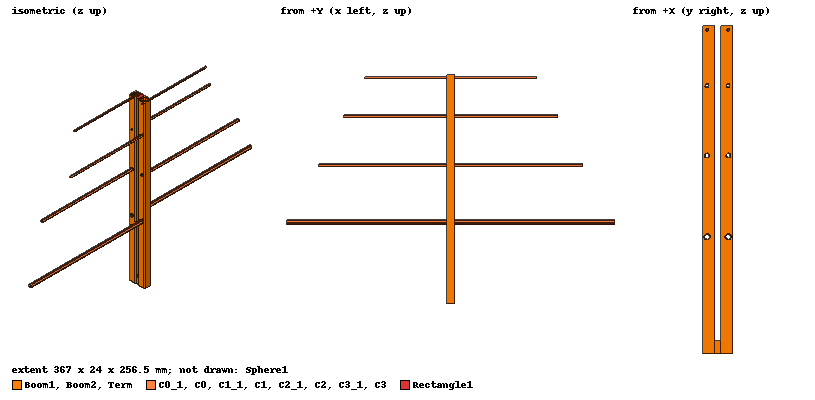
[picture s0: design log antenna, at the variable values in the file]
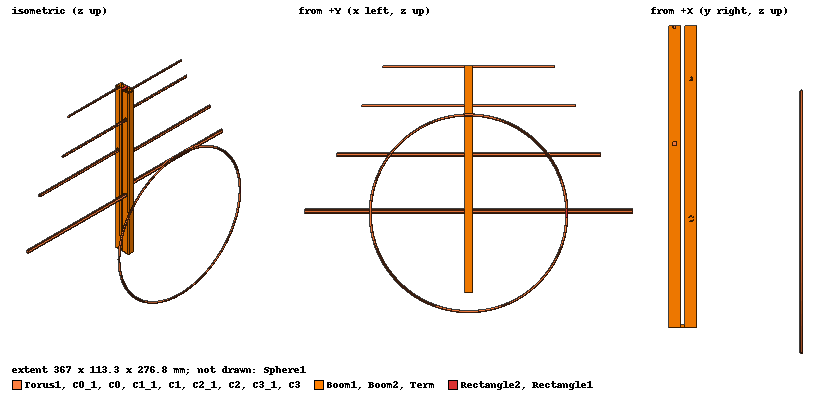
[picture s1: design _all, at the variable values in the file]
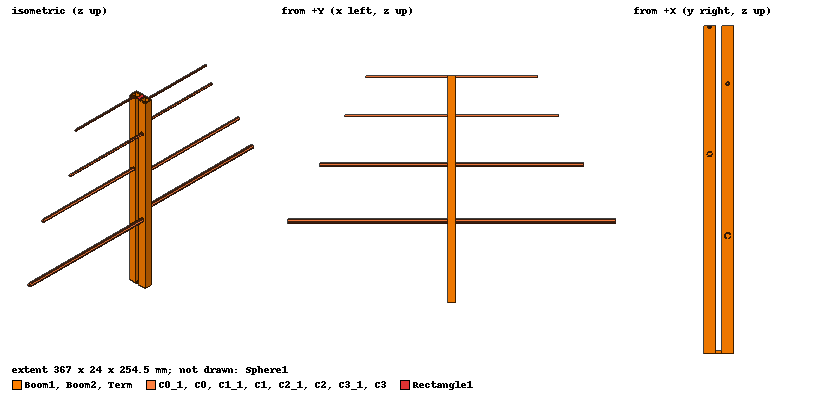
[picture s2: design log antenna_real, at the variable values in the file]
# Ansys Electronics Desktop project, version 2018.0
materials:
  brass: conductivity=15000000
  copper: permeability=0.999991 conductivity=58000000
  vacuum: permittivity=1

design log antenna (HFSS, DrivenModal, model units mm)
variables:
  Frequence = 434MHz
  LzTerm = 0.089*1000mm
  Cyl_vol = 0.5mm
  Boom_Vol = 2mm
  Boom_W = 10mm
  Boom_L = 10mm
  spacer = 4mm
  Sigma = 0.095
  T = 0.8
  R3 = 1.25mm
  L0 = 357mm
  L1 = T*L0
  L3 = T*L2
  L2 = T*L1
  Lambda0 = 2*L0
  Lambda1 = 2*L1
  Lambda2 = 2*L2
  Lambda3 = 2*L3
  D0 = Sigma*Lambda0
  D1 = Sigma*Lambda1+D0
  D2 = Sigma*Lambda2+D1
  D3 = D2+LzTerm
  Boom_H = D3+2mm
  R0 = R1/T
  R1 = R2/T
  R2 = R3/T
  c = 299792458
  wawlength = c/Frequence
  Frequ = 434MHz
  Lambda = c/Frequ
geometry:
  Boom1 [brass] = box(corner=(-Boom_W/2, spacer/2, -LZterm), size=(Boom_W, Boom_L, Boom_H))
  Boom2 [brass] = box(corner=(-Boom_W/2, -(spacer/2+Boom_L), -LzTerm), size=(Boom_W, Boom_L, Boom_H))
  C0 [brass] = cylinder(axis=X, base_centre=(-Boom_W/2, spacer/2+Boom_L/2+Boom_L/8, R0), radius=R0, height=L0/2+Boom_W)
  C1 [brass] = cylinder(axis=X, base_centre=(-Boom_W/2, -(spacer/2+Boom_L/2+Boom_L/8), D0-R1), radius=R1, height=L1/2+Boom_W)
  C2 [brass] = cylinder(axis=X, base_centre=(-Boom_W/2, spacer/2+Boom_L/2+Boom_L/8, D1-R2), radius=R2, height=L2/2+Boom_W)
  C3 [brass] = cylinder(axis=X, base_centre=(-Boom_W/2, -(spacer/2+Boom_L/2+Boom_L/8), D2-R3), radius=R3, height=L3/2+Boom_W)
  Boom1_1 = box(corner=(-Boom_W/2+Boom_Vol/2, spacer/2+Boom_Vol/2, -LzTerm), size=(Boom_W-Boom_Vol, Boom_L-2mm, Boom_H))
  Boom2_1 = box(corner=(-Boom_W/2+Boom_Vol/2, -(spacer/2+Boom_L-Boom_Vol/2), -LzTerm), size=(Boom_W-Boom_Vol, Boom_L-Boom_Vol, Boom_H))
  C01 = cylinder(axis=X, base_centre=(-Boom_W/2, spacer/2+Boom_L/2+Boom_L/8, R0), radius=R0-Cyl_vol, height=L0/2+Boom_W)
  C11 = cylinder(axis=X, base_centre=(-Boom_W/2, -(spacer/2+Boom_L/2+Boom_L/8), D0-R1), radius=R1-Cyl_vol, height=L1/2+Boom_W)
  C21 = cylinder(axis=X, base_centre=(-Boom_W/2, spacer/2+Boom_L/2+Boom_L/8, D1-R2), radius=R2-Cyl_vol, height=L2/2+Boom_W)
  C31 = cylinder(axis=X, base_centre=(-Boom_W/2, -(spacer/2+Boom_L/2+Boom_L/8), D2-R3), radius=R3-Cyl_vol, height=L3/2+Boom_W)
  Term [brass] = box(corner=(-4mm, -spacer/2, -LzTerm), size=(8mm, spacer, 10mm))
  Boom2.subtract(Boom2_1)
  Boom1.subtract(Boom1_1)
  C3_1 [brass] = C3.duplicate_around_axis(axis=Z, angle=180deg, total=2)
  C2_1 [brass] = C2.duplicate_around_axis(axis=Z, angle=180deg, total=2)
  C1_1 [brass] = C1.duplicate_around_axis(axis=Z, angle=180deg, total=2)
  C0_1 [brass] = C0.duplicate_around_axis(axis=Z, angle=180deg, total=2)
  Rectangle1 = rectangle(corner=(-Boom_W/2, spacer/2, D2+2mm), x_size=Boom_L, y_size=-spacer)
  C0_2 = C0.copy()
  Boom1.subtract(C0_2)
  C1_2 = C1.copy()
  Boom2.subtract(C1_2)
  C2_2 = C2.copy()
  Boom1.subtract(C2_2)
  C3_2 = C3.copy()
  Boom2.subtract(C3_2)
  C11_1 = C11.duplicate_around_axis(axis=Z, angle=180deg, total=2)
  C21_1 = C21.duplicate_around_axis(axis=Z, angle=180deg, total=2)
  C31_1 = C31.duplicate_around_axis(axis=Z, angle=180deg, total=2)
  C01_1 = C01.duplicate_around_axis(axis=Z, angle=180deg, total=2)
  C2.subtract(C21)
  C0.subtract(C01)
  C1.subtract(C11)
  C3.subtract(C31)
  C0_3 = C0.copy()
  C1_1_1 = C1_1.copy()
  C3_1_1 = C3_1.copy()
  Boom1.subtract(C0_3, C1_1_1, C3_1_1)
  C3_1.subtract(C31_1)
  C1_1.subtract(C11_1)
  C0_1_1 = C0_1.copy()
  C2_1_1 = C2_1.copy()
  Boom2.subtract(C0_1_1, C2_1_1)
  C0_1.subtract(C01_1)
  C2_1.subtract(C21_1)
  Sphere1 [vacuum] = sphere(centre=(0mm, 0mm, 0mm), radius=sqrt((2*lambda)/pi))
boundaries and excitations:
  Rad1: Radiation Objects=Sphere1
  1: Lumped Port Objects=Rectangle1 Modes{Mode1{IntLine{middle of Rectangle1.edge(y opposite corner) -> middle of Rectangle1.edge(y at corner)} CharImp=Zpi RenormImp=100ohm}} Impedance=50ohm
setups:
  Setup1: HfssDriven Frequency=434MHz MaxDeltaS=0.02 MaximumPasses=20 MinimumPasses=3 MinimumConvergedPasses=1 PercentRefinement=30 BasisOrder=1 PortAccuracy=2
    sweep Sweep: 300MHz to 800MHz step 0.02GHz; Type=Interpolating InterpTolerance=0.5 InterpMaxSolns=250 InterpUsePortImped=false PassivityErrorTolerance=0.0001
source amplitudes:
  1:1: 1W 0deg
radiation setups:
  Infinite Sphere1: Infinite Sphere Theta=0deg..180deg step 2deg Phi=-180deg..180deg step 2deg
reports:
  Z Parameter Plot 1: re(Z(1,1)), im(Z(1,1)) vs Freq on Setup1 : Sweep; markers m1 at 434MHz, m2 at 434MHz
  S Parameter Plot 1: dB(S(1,1)) vs Freq on Setup1 : Sweep; markers m1 at 420MHz, m3 at 432.0984MHz, m4 at 460MHz
  rE Plot 1: rETotal vs Phi, Theta on Setup1 : LastAdaptive, Infinite Sphere1 [Freq=0.434GHz]
  S Parameter Chart 2: S(1,1) on Setup1 : Sweep [Freq=all]; markers m1 at 0.434GHz

design circular loop antenna (HFSS, DrivenModal, model units mm)
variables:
  majRad = Lambda/(2*pi)*tuning
  minRad = sqrt(Sect/pi)
  rad = 2*minRad
  H = 10mm
  Frequ = 434MHz
  Lambda = c/Frequ
  c = 300000000m_per_sec
  Frequence = 434MHz
  wawlength = c/Frequence
  tuning = (456/434)
  BW = 1mm
  Sect = 1mm2
  Diameter = 2*majRad m
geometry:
  Torus1 [copper] = torus(axis=Z, centre=(0mm, 0mm, 0mm), major_radius=majRad, minor_radius=minRad)
  Cylinder1 = cylinder(axis=Y, base_centre=(-majRad, -H/2, 0mm), radius=rad, height=H)
  Torus1.subtract(Cylinder1)
  Rectangle1 = rectangle(corner=(-majRad, -H/2, 0mm), x_size=Rad*0.8, y_size=H)
  Sphere1 [vacuum] = sphere(centre=(0mm, 0mm, 0mm), radius=sqrt((2*lambda)/pi))
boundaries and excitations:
  Rad2: Radiation Objects=Sphere1
  1: Lumped Port Objects=Rectangle1 Modes{Mode1{IntLine{Rectangle1.edge(y opposite corner) at 0.499 along -> middle of Rectangle1.edge(y at corner)} CharImp=Zpi RenormImp=100ohm}} Impedance=50ohm
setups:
  Setup1: HfssDriven Frequency=434MHz MaxDeltaS=0.02 MaximumPasses=20 MinimumPasses=3 MinimumConvergedPasses=1 PercentRefinement=30 BasisOrder=1 PortAccuracy=2
    sweep Sweep: 300MHz to 800MHz step 10MHz; Type=Interpolating InterpTolerance=0.5 InterpMaxSolns=250 InterpUsePortImped=false PassivityErrorTolerance=0.0001
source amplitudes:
  1:1: 1W 0deg
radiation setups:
  Infinite Sphere1: Infinite Sphere Theta=0deg..180deg step 2deg Phi=-180deg..180deg step 2deg
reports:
  Z Parameter Plot 1: re(Z(1,1)), im(Z(1,1)) vs Freq on Setup1 : Sweep; markers m1 at 0.434GHz, m2 at 0.434GHz, m3 at 0.45598272GHz
  S Parameter Plot 1: dB(S(1,1)) vs Freq on Setup1 : Sweep; markers m1 at 0.43462329GHz, m2 at 450MHz
  rE Plot 1: rETotal vs Phi, Theta on Setup1 : LastAdaptive, Infinite Sphere1 [Freq=0.434GHz]
  S Parameter Chart 1: S(1,1) on Setup1 : Sweep [Freq=all Sect=all]

design _all (HFSS, DrivenModal, model units mm)
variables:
  rad = 2*minRad
  H = 10mm
  Frequ = 434MHz
  c = 300000000m_per_sec
  Lambda = c/Frequ
  minRad = 1.25mm
  majRad = Lambda/(2*pi)
  T = 0.8
  L1 = T*L0
  D2 = Sigma*Lambda2+D1
  LzTerm = 0.089*1000mm
  Boom_Vol = 2mm
  Boom_W = 10mm
  spacer = 4mm
  L0 = 357mm
  Sigma = 0.095
  L2 = T*L1
  Lambda0 = 2*L0
  Boom_L = 10mm
  Lambda1 = 2*L1
  Lambda2 = 2*L2
  D3 = D2+LzTerm
  Boom_H = D3
  D0 = Sigma*Lambda0
  D1 = Sigma*Lambda1+D0
  Cyl_vol = 0.5mm
  R3 = 1.25mm
  R0 = R1/T
  R1 = R2/T
  R2 = R3/T
  L3 = T*L2
  hand = 100mm
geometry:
  Torus1 [copper] = torus(axis=Z, centre=(0, 0mm, hand), major_radius=majRad, minor_radius=minRad)
  Cylinder1 = cylinder(axis=Y, base_centre=(-majRad, -H/2, hand), radius=rad, height=H)
  Torus1.subtract(Cylinder1)
  Rectangle1 = rectangle(corner=(-majRad-rad/2, -H/2, hand), x_size=rad, y_size=H)
  Boom1 [brass] = box(corner=(-Boom_W/2, spacer/2, -LZterm), size=(Boom_W, Boom_L, Boom_H))
  Boom1_1 = box(corner=(-Boom_W/2+Boom_Vol/2, spacer/2+Boom_Vol/2, -LzTerm), size=(Boom_W-Boom_Vol, Boom_L-2mm, Boom_H))
  Boom1.subtract(Boom1_1)
  Boom2 [brass] = box(corner=(-Boom_W/2, -(spacer/2+Boom_L), -LzTerm), size=(Boom_W, Boom_L, Boom_H))
  Boom2_1 = box(corner=(-Boom_W/2+Boom_Vol/2, -(spacer/2+Boom_L-Boom_Vol/2), -LzTerm), size=(Boom_W-Boom_Vol, Boom_L-Boom_Vol, Boom_H))
  Boom2.subtract(Boom2_1)
  C0 [brass] = cylinder(axis=X, base_centre=(Boom_W/2, spacer/2+Boom_L/2, R0), radius=R0, height=L0/2)
  C01 = cylinder(axis=X, base_centre=(Boom_W/2, spacer/2+Boom_L/2, R0), radius=R0-Cyl_vol, height=L0/2)
  C0.subtract(C01)
  C0_1 [brass] = C0.duplicate_around_axis(axis=Z, angle=180deg, total=2)
  C1 [brass] = cylinder(axis=X, base_centre=(Boom_W/2, -(spacer/2+Boom_L/2), D0-R1), radius=R1, height=L1/2)
  C11 = cylinder(axis=X, base_centre=(Boom_W/2, spacer/2+Boom_L/2, D0-R1), radius=R1-Cyl_vol, height=L1/2)
  C1.subtract(C11)
  C1_1 [brass] = C1.duplicate_around_axis(axis=Z, angle=180deg, total=2)
  C2 [brass] = cylinder(axis=X, base_centre=(Boom_W/2, spacer/2+Boom_L/2, D1-R2), radius=R2, height=L2/2)
  C21 = cylinder(axis=X, base_centre=(Boom_W/2, spacer/2+Boom_L/2, D1-R2), radius=R2-Cyl_vol, height=L2/2)
  C2.subtract(C21)
  C2_1 [brass] = C2.duplicate_around_axis(axis=Z, angle=180deg, total=2)
  C3 [brass] = cylinder(axis=X, base_centre=(Boom_W/2, -(spacer/2+Boom_L/2), D2-R3), radius=R3, height=L3/2)
  C31 = cylinder(axis=X, base_centre=(Boom_W/2, spacer/2+Boom_L/2, D2-R3), radius=R3-Cyl_vol, height=L3/2)
  C3.subtract(C31)
  C3_1 [brass] = C3.duplicate_around_axis(axis=Z, angle=180deg, total=2)
  Term [brass] = box(corner=(-4mm, -spacer/2, -LzTerm), size=(8mm, spacer, 2mm))
  Rectangle2 = rectangle(corner=(-Boom_W/2, spacer/2, D2), x_size=Boom_L, y_size=-spacer)
  Sphere1 [vacuum] = sphere(centre=(0mm, 0mm, 0mm), radius=sqrt((2*lambda)/pi))
  [Rectangle1, Torus1].rotate(axis=X, angle=270deg)
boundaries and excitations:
  Rad1: Radiation Objects=Sphere1
  1: Lumped Port Objects=Rectangle1 Modes{Mode1{IntLine{middle of Rectangle1.edge(1 of 4) -> middle of Rectangle1.edge(3 of 4)} CharImp=Zpi RenormImp=50ohm}} Impedance=50ohm
  2: Lumped Port Objects=Rectangle2 Modes{Mode1{IntLine{middle of Rectangle2.edge(y opposite corner) -> middle of Rectangle2.edge(y at corner)} CharImp=Zpi RenormImp=50ohm}} Impedance=50ohm
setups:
  Setup1: HfssDriven Frequency=434MHz MaxDeltaS=0.02 MaximumPasses=20 MinimumPasses=3 MinimumConvergedPasses=1 PercentRefinement=30 BasisOrder=1 PortAccuracy=2
    sweep Sweep: 420MHz to 450MHz, 31 points; Type=Interpolating InterpTolerance=0.5 InterpMaxSolns=250 InterpUsePortImped=false InterpUsePropConst=false PassivityErrorTolerance=0.0001
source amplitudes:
  1:1: 1W 0deg
  2:1: 0W 0deg
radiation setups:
  Infinite Sphere1: Infinite Sphere Theta=0deg..180deg step 2deg Phi=-180deg..180deg step 2deg

design log antenna_real (HFSS, DrivenModal, model units mm)
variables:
  Frequence = 434MHz
  LzTerm = 0.089*1000mm
  Cyl_vol = 0.5mm
  Boom_Vol = 2mm
  Boom_W = 10mm
  Boom_L = 10mm
  spacer = 4mm
  Sigma = 0.095
  T = 0.8
  R3 = 1.25mm
  L0 = 357mm
  L1 = T*L0
  L3 = T*L2
  L2 = T*L1
  Lambda0 = 2*L0
  Lambda1 = 2*L1
  Lambda2 = 2*L2
  Lambda3 = 2*L3
  D0 = Sigma*Lambda0
  D1 = Sigma*Lambda1+D0
  D2 = Sigma*Lambda2+D1
  D3 = D2+LzTerm
  Boom_H = D3
  R0 = 2.5mm
  R1 = 2mm
  R2 = 1.5mm
  c = 299792458
  wawlength = c/Frequence
  Frequ = 434MHz
  Lambda = c/Frequ
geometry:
  Boom1 [brass] = box(corner=(-Boom_W/2, spacer/2, -LZterm), size=(Boom_W, Boom_L, Boom_H))
  Boom2 [brass] = box(corner=(-Boom_W/2, -(spacer/2+Boom_L), -LzTerm), size=(Boom_W, Boom_L, Boom_H))
  C0 [brass] = cylinder(axis=X, base_centre=(Boom_W/2, spacer/2+Boom_L/2, R0), radius=R0, height=L0/2)
  C1 [brass] = cylinder(axis=X, base_centre=(Boom_W/2, -(spacer/2+Boom_L/2), D0-R1), radius=R1, height=L1/2)
  C2 [brass] = cylinder(axis=X, base_centre=(Boom_W/2, spacer/2+Boom_L/2, D1-R2), radius=R2, height=L2/2)
  C3 [brass] = cylinder(axis=X, base_centre=(Boom_W/2, -(spacer/2+Boom_L/2), D2-R3), radius=R3, height=L3/2)
  Boom1_1 = box(corner=(-Boom_W/2+Boom_Vol/2, spacer/2+Boom_Vol/2, -LzTerm), size=(Boom_W-Boom_Vol, Boom_L-2mm, Boom_H))
  Boom2_1 = box(corner=(-Boom_W/2+Boom_Vol/2, -(spacer/2+Boom_L-Boom_Vol/2), -LzTerm), size=(Boom_W-Boom_Vol, Boom_L-Boom_Vol, Boom_H))
  C01 = cylinder(axis=X, base_centre=(Boom_W/2, spacer/2+Boom_L/2, R0), radius=R0-Cyl_vol, height=L0/2)
  C0.subtract(C01)
  C11 = cylinder(axis=X, base_centre=(Boom_W/2, -(spacer/2+Boom_L/2), D0-R1), radius=R1-Cyl_vol, height=L1/2)
  C1.subtract(C11)
  C21 = cylinder(axis=X, base_centre=(Boom_W/2, spacer/2+Boom_L/2, D1-R2), radius=R2-Cyl_vol, height=L2/2)
  C2.subtract(C21)
  C31 = cylinder(axis=X, base_centre=(Boom_W/2, -(spacer/2+Boom_L/2), D2-R3), radius=R3-Cyl_vol, height=L3/2)
  C3.subtract(C31)
  Term [brass] = box(corner=(-4mm, -spacer/2, -LzTerm), size=(8mm, spacer, 2mm))
  Boom2.subtract(Boom2_1)
  Boom1.subtract(Boom1_1)
  C3_1 [brass] = C3.duplicate_around_axis(axis=Z, angle=180deg, total=2)
  C2_1 [brass] = C2.duplicate_around_axis(axis=Z, angle=180deg, total=2)
  C1_1 [brass] = C1.duplicate_around_axis(axis=Z, angle=180deg, total=2)
  C0_1 [brass] = C0.duplicate_around_axis(axis=Z, angle=180deg, total=2)
  Rectangle1 = rectangle(corner=(-Boom_W/2, spacer/2, D2), x_size=Boom_L, y_size=-spacer)
  Sphere1 [vacuum] = sphere(centre=(0mm, 0mm, 0mm), radius=sqrt((2*lambda)/pi))
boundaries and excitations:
  Rad1: Radiation Objects=Sphere1
  1: Lumped Port Objects=Rectangle1 Modes{Mode1{IntLine{middle of Rectangle1.edge(y opposite corner) -> middle of Rectangle1.edge(y at corner)} CharImp=Zpi RenormImp=100ohm}} Impedance=50ohm
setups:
  Setup1: HfssDriven Frequency=434MHz MaxDeltaS=0.02 MaximumPasses=20 MinimumPasses=3 MinimumConvergedPasses=1 PercentRefinement=30 BasisOrder=1 PortAccuracy=2
    sweep Sweep: 420MHz to 550MHz step 10MHz; Type=Interpolating InterpTolerance=0.5 InterpMaxSolns=250 InterpUsePortImped=false PassivityErrorTolerance=0.0001
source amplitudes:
  1:1: 1W 0deg
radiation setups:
  Infinite Sphere1: Infinite Sphere Theta=0deg..180deg step 2deg Phi=-180deg..180deg step 2deg
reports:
  rE Plot 1: rETotal vs Phi, Theta
  Z Parameter Plot 1: re(Z(1,1)), im(Z(1,1)) vs Freq; markers m1 at 434MHz, m2 at 434MHz
  S Parameter Plot 1: dB(S(1,1)) vs Freq; markers m1 at 420MHz, m3 at 0.43440248GHz, m4 at 460MHz
  S Parameter Chart 1: S(1,1) on Setup1 : Sweep [Freq=all]

design circular loop antenna1 (HFSS, DrivenModal, model units mm)
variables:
  majRad = Lambda/(2*pi)*tuning
  minRad = sqrt(Sect/pi)
  rad = 2*minRad
  H = 20mm
  Frequ = 434MHz
  Lambda = c/Frequ
  c = 300000000m_per_sec
  Frequence = 434MHz
  wawlength = c/Frequence
  tuning = 456/434
  BW = 1mm
  Sect = 1mm2
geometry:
  Torus1 [copper] = torus(axis=Z, centre=(0mm, 0mm, 0mm), major_radius=majRad, minor_radius=minRad)
  Cylinder1 = cylinder(axis=Y, base_centre=(-majRad, -H/2, 0mm), radius=rad, height=H)
  Torus1.subtract(Cylinder1)
  Rectangle1 = rectangle(corner=(-majRad, -H/2, 0mm), x_size=Rad*0.8, y_size=H/2-BW/2)
  Sphere1 [vacuum] = sphere(centre=(0mm, 0mm, 0mm), radius=sqrt((2*lambda)/pi))
  Box1 [copper] = box(corner=(-majRad-rad/12, -BW/2, -Rad/2), size=(Rad, BW, Rad))
  Rectangle2 = rectangle(corner=(-majRad, H/2, 0mm), x_size=Rad*0.8, y_size=-(H/2-BW/2))
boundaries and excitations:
  Rad2: Radiation Objects=Sphere1
  1: Lumped Port Objects=Rectangle1 Modes{Mode1{IntLine{Rectangle1.edge(y opposite corner) at 0.499 along -> middle of Rectangle1.edge(y at corner)} CharImp=Zpi RenormImp=50ohm}} Impedance=50ohm
  2: Lumped Port Objects=Rectangle2 Modes{Mode1{IntLine{middle of Rectangle2.edge(y opposite corner) -> middle of Rectangle2.edge(y at corner)} CharImp=Zpi RenormImp=50ohm}} Impedance=50ohm
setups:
  Setup1: HfssDriven Frequency=434MHz MaxDeltaS=0.02 MaximumPasses=20 MinimumPasses=3 MinimumConvergedPasses=1 PercentRefinement=30 BasisOrder=1 PortAccuracy=2
    sweep Sweep: 300MHz to 800MHz step 10MHz; Type=Interpolating InterpTolerance=0.5 InterpMaxSolns=250 InterpUsePortImped=false PassivityErrorTolerance=0.0001
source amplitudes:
  1:1: 1W 0deg
  2:1: 0W 0deg
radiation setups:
  Infinite Sphere1: Infinite Sphere Theta=0deg..180deg step 2deg Phi=-180deg..180deg step 2deg
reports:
  Z Parameter Plot 1: re(Z(1,1)), im(Z(1,1)) vs Freq on Setup1 : Sweep; markers m1 at 0.434GHz, m2 at 0.434GHz, m3 at 0.46116191GHz
  S Parameter Plot 1: dB((S(1,1)-S(1,2)-S(2,1)+S(2,2))/2) vs Freq on Setup1 : Sweep; markers m1 at 0.43462329GHz
  rE Plot 1: rETotal vs Phi, Theta on Setup1 : LastAdaptive, Infinite Sphere1 [Freq=0.434GHz]
  S Parameter Chart 1: (S(1,1)-S(1,2)-S(2,1)+S(2,2))/2 on Setup1 : Sweep [Freq=all]; markers m1 at 0.43GHz

design Circuit1 (Circuit)
options: SParamCircuitDef IntegrationMethod=FFT
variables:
  Cp1 = 1pF
  Cs1 = 1pF
  Cp2 = 1pF
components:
  C6 = CAP_(C=Cp2)
  C7 = CAP_(C=Cs1)
  C8 = CAP_(C=Cp1)
  C9 = CAP_(C=Cs1)
  S10 = circular loop antenna_L2()
  port Port1 pnum=1 rz=50ohm iz=0ohm
  port Port2 pnum=2 rz=50ohm iz=0ohm
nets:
  net_1: C8.1, S10.1, C9.1
  net_2: C8.0, S10.0, C7.1
  Port1: C6.0, C7.0
  Port2: C6.1, C9.0
